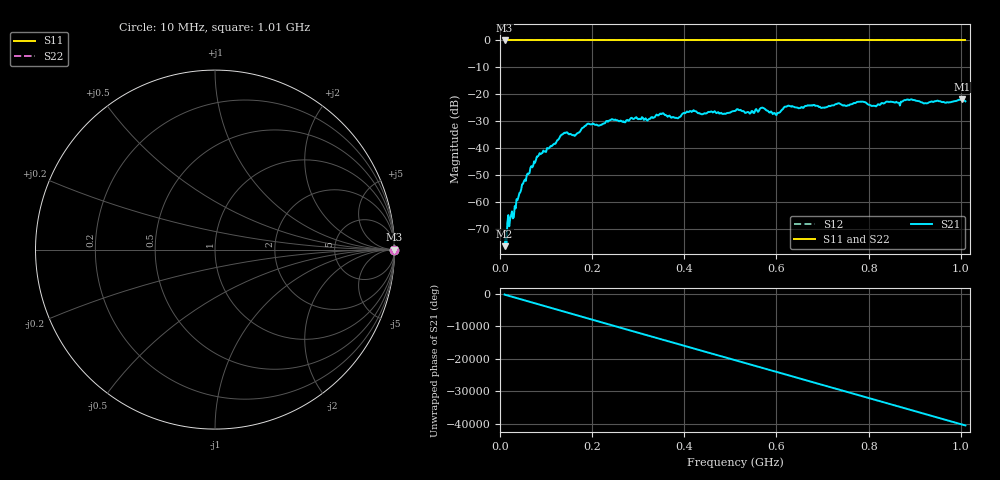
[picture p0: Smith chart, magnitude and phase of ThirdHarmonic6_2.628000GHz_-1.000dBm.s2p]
! 8/17/2025 5:51:39 AM
! C:\ANRITSUVNA\TEMP\TEMP.S2P
! CHANNEL.1
! TR.MEASUREMENT
! RAW.DATA
! RF.CORRECTION.OFF
! AVERAGING.OFF
! IF.BANDWIDTH: 5KHZ
! SWEEPTYPE:  FREQ.SWEEP(Linear)
! Reference Plane Port Info
! PORT:  PORT1  PORT2
! DISTANCE:  0  m  0  m
! TIME:  0  s  0  s
! PHASE.OFFSET:  0  deg.  0  deg.
! LOSS:  0  dB  0  dB
! REF.LOSS:  0  dB  0  dB
! REF.FREQ:  0  Hz  0  Hz
! Power Info
! POWER:  -20  dBm  -20  dBm
! EFF.POWER:  -20  dBm  -20  dBm
! SOURCE.ATTEN:  0  dB  0  dB
! TEST.ATTEN:  0  dB  0  dB
# GHZ S RI R 50.0
! FREQ.GHZ  S11RE  S11IM  S21RE  S21IM  S12RE  S12IM  S22RE  S22IM
!; PortSelection: Port_12
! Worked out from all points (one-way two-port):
!   501 points, 10 MHz to 1.01 GHz, reference 50 ohm
!   highest |S21| = -21.76 dB at 1.002 GHz (marker M1); lowest = -76.4 dB at 10 MHz (marker M2)
!   lowest |S11| = 0.0 dB at 10 MHz (marker M3)
!   |S11| at or under -10 dB: nowhere
!   |S22| runs from 0.0 to 0.0 dB; largest |S21 - S12| = 1.1
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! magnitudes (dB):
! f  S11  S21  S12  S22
! 10 MHz  0.0  -76.4  0.0  0.0
! 20 MHz  0.0  -69.0  0.0  0.0
! 30 MHz  0.0  -65.7  0.0  0.0
! 50 MHz  0.0  -53.3  0.0  0.0
! 82 MHz  0.0  -43.1  0.0  0.0
! 136 MHz  0.0  -34.8  0.0  0.0
! 162 MHz  0.0  -35.5  0.0  0.0
! 178 MHz  0.0  -32.6  0.0  0.0
! 242 MHz  0.0  -29.3  0.0  0.0
! 322 MHz  0.0  -29.4  0.0  0.0
! 344 MHz  0.0  -27.8  0.0  0.0
! 384 MHz  0.0  -28.8  0.0  0.0
! 416 MHz  0.0  -26.6  0.0  0.0
! 510 MHz  0.0  -26.2  0.0  0.0
! 570 MHz  0.0  -25.0  0.0  0.0
! 596 MHz  0.0  -27.0  0.0  0.0
! 622 MHz  0.0  -24.6  0.0  0.0
! 678 MHz  0.0  -24.2  0.0  0.0
! 812 MHz  0.0  -24.3  0.0  0.0
! 844 MHz  0.0  -22.9  0.0  0.0
! 1.002 GHz  0.0  -21.8  0.0  0.0
! 1.01 GHz  0.0  -22.6  0.0  0.0
